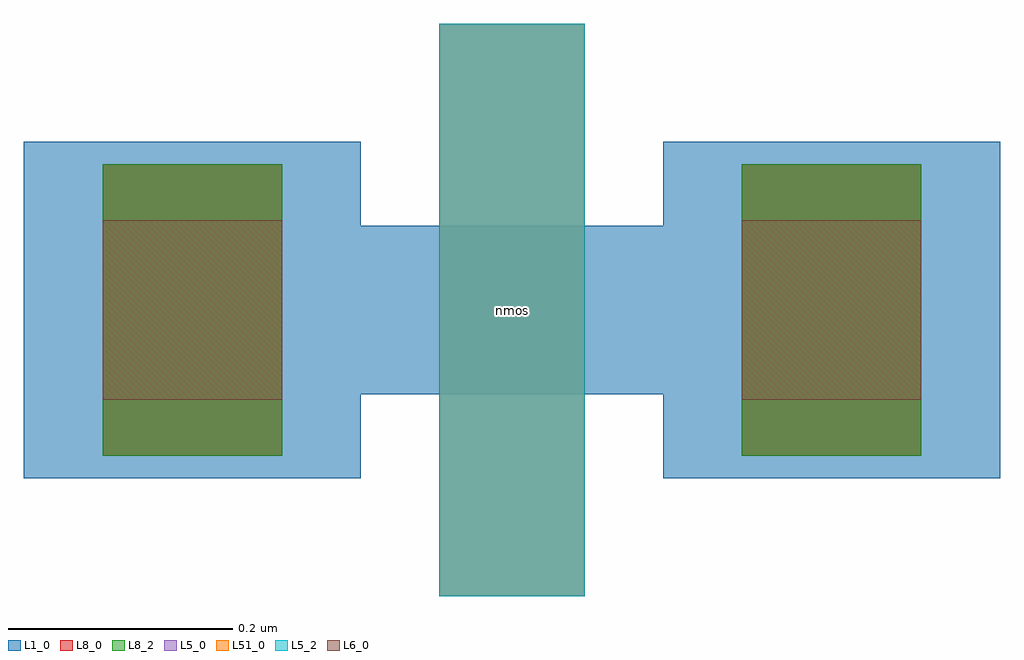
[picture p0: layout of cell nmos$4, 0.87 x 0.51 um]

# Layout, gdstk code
import gdstk
lib = gdstk.Library(unit=1e-6, precision=1e-09)
def R(c, l, rs):  # rectangles x0, y0, x1, y1
    for r in rs: c.add(gdstk.rectangle(r[:2], r[2:], *l))
L1_0 = (1, 0)
L5_0 = (5, 0)
L5_2 = (5, 2)
L6_0 = (6, 0)
L8_0 = (8, 0)
L8_2 = (8, 2)
L51_0 = (51, 0)

nmos_4 = lib.new_cell('nmos$4')
R(nmos_4, L1_0, [(0,0,0.3,0.3), (0.57,0,0.87,0.3), (0,0.075,0.87,0.225)])
R(nmos_4, L5_0, [(0.37,-0.105,0.5,0.405)])
R(nmos_4, L5_2, [(0.37,-0.105,0.5,0.405)])
R(nmos_4, L6_0, [(0.07,0.07,0.23,0.23), (0.64,0.07,0.8,0.23)])
R(nmos_4, L8_0, [(0.07,0.02,0.23,0.28), (0.64,0.02,0.8,0.28)])
R(nmos_4, L8_2, [(0.07,0.02,0.23,0.28), (0.64,0.02,0.8,0.28)])
R(nmos_4, L51_0, [(0.37,-0.105,0.5,0.405)])
nmos_4.add(gdstk.Label('nmos', (0.435,0.15), layer=63, texttype=0))
nmos_4.add(gdstk.Label('nmos', (0.435,0.15), layer=51, texttype=0))

lib.write_gds('nmos_4.gds')
